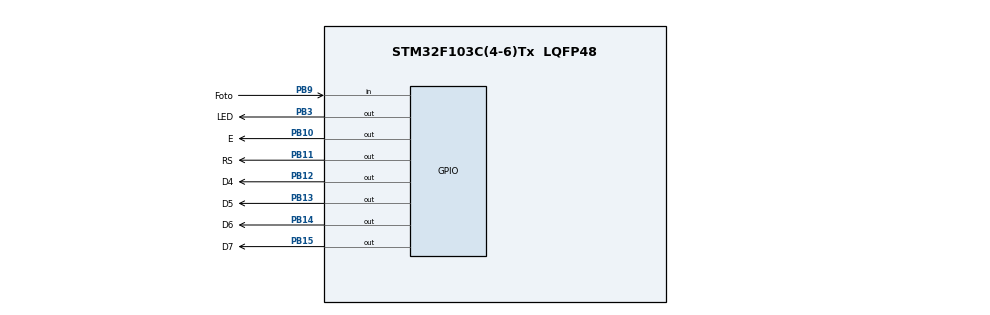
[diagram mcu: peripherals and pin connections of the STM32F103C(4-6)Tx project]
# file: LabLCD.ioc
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Mcu.Family=STM32F1
Mcu.Name=STM32F103C(4-6)Tx
Mcu.Package=LQFP48
NVIC.PriorityGroup=NVIC_PRIORITYGROUP_4
PA13.Mode=Serial_Wire
PA13.Signal=SYS_JTMS-SWDIO
PA14.Mode=Serial_Wire
PA14.Signal=SYS_JTCK-SWCLK
PB10.GPIO_Label=E
PB10.Signal=GPIO_Output
PB11.GPIO_Label=RS
PB11.Signal=GPIO_Output
PB12.GPIO_Label=D4
PB12.Signal=GPIO_Output
PB13.GPIO_Label=D5
PB13.Signal=GPIO_Output
PB14.GPIO_Label=D6
PB14.Signal=GPIO_Output
PB15.GPIO_Label=D7
PB15.Signal=GPIO_Output
PB3.GPIO_Label=LED
PB3.Signal=GPIO_Output
PB9.GPIO_Label=Foto
PB9.Signal=GPIO_Input
PD0-OSC_IN.Mode=HSE-External-Oscillator
PD0-OSC_IN.Signal=RCC_OSC_IN
PD1-OSC_OUT.Mode=HSE-External-Oscillator
PD1-OSC_OUT.Signal=RCC_OSC_OUT
ProjectManager.HeapSize=0x200
ProjectManager.StackSize=0x400
ProjectManager.TargetToolchain=STM32CubeIDE
RCC.APB1Freq_Value=8000000
RCC.APB2Freq_Value=8000000
board=custom

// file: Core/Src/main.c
/* USER CODE BEGIN Header */
/**
  ******************************************************************************
  * @file           : main.c
  * @brief          : Main program body
  ******************************************************************************
  * @attention
  *
  * Copyright (c) 2022 STMicroelectronics.
  * All rights reserved.
  *
  * This software is licensed under terms that can be found in the LICENSE file
  * in the root directory of this software component.
  * If no LICENSE file comes with this software, it is provided AS-IS.
  *
  ******************************************************************************
  */
/* USER CODE END Header */
#include "main.h"

/* USER CODE BEGIN Includes */
#include <stdio.h>
#include <stdlib.h>
//Comandos para operaciones del lcd
#define linea1 0x80 //Direccion del cursor en linea1
#define linea2 0xC0 //Direccion del cursos en linea2
#define clear  0x01 //Comando que borra lso datos que esta impirmiendo el lcd
/* USER CODE END Includes */

void SystemClock_Config(void);
static void MX_GPIO_Init(void);
/* USER CODE BEGIN PFP */
void initLCD(); //Funcion que inicializa el lcd
void comando(unsigned char cmd, unsigned char rs); //Funcion para enviar la informacion al lcd
void E_cadena(unsigned char *pal); //Funcion que nos ayuda a imprimir un string o cadena
/* USER CODE END PFP */

/* USER CODE BEGIN 0 */
//unsigned char pal[]="123456";
unsigned long cont=0; //Contador para llevar los segundos en el microcontrolador
unsigned long token=0xF49DC57D; //token asignado por nosotros
unsigned long token2=30000; // Token inicializado que cambaira cada 30segundos
unsigned long clave=0; //calve resultante que sera imprimida en el lcd
char pal[9],i; //Array que me ayudara a convertir a calve en string
/* USER CODE END 0 */

int main(void)
{

  /* MCU Configuration--------------------------------------------------------*/

  /* Reset of all peripherals, Initializes the Flash interface and the Systick. */
  HAL_Init();

  /* Configure the system clock */
  SystemClock_Config();

  /* Initialize all configured peripherals */
  MX_GPIO_Init();
  /* USER CODE BEGIN 2 */
  initLCD();
  /* USER CODE END 2 */

  /* Infinite loop */
  /* USER CODE BEGIN WHILE */
  HAL_Delay(1);
  E_cadena("Su token es: ");
  HAL_Delay(1);
  comando(linea2, 0);
  HAL_Delay(15);
//While para poder sincronizar el microcontrolador con el programa del pc
  while(i<2){
     if(HAL_GPIO_ReadPin(GPIOB, GPIO_PIN_9 )==GPIO_PIN_RESET){ //evaluamos la fotoresistencia
	 		 i=4;
	 	  }else{
	 		 i=0;
	 	  }
  }
  clave=token^token2;//realizamos el primer XOR de nuestro token con el primier intervalo de tiempo
  E_cadena(itoa(clave, pal, 16)); //itoa se actualizo en stdlib.h ya que esta no contaba con ultoa

  while (1)
  {
	  HAL_Delay(1);
	  cont++; //contador que nos define los milisegundso gastados
	  if(cont==14960){//se evalua en esto para poder borrar los datos del lcd y no sobreescribir en el
		  //se realiza unos milisegundos antes de los 30seg para no retrasar el microcontrolador
		  comando(clear,0);
		  HAL_Delay(1);
		  E_cadena("Su token es: ");
		  HAL_Delay(1);
		  comando(linea2, 0);
	  }else if(cont==14980){ //15000 dura aproximada 30segundos
		  token2=token2+30000;//actualizamos el valor del token 2 comparador
		  clave=token^token2;//realizamos el XOR con token2 actualizado
		  E_cadena(itoa(clave, pal, 16));//imprimimos el resutlado de calve el pal
		  cont=0;
	  }

    /* USER CODE END WHILE */

  }
}

void SystemClock_Config(void)
{
  RCC_OscInitTypeDef RCC_OscInitStruct = {0};
  RCC_ClkInitTypeDef RCC_ClkInitStruct = {0};

  /** Initializes the RCC Oscillators according to the specified parameters
  * in the RCC_OscInitTypeDef structure.
  */
  RCC_OscInitStruct.OscillatorType = RCC_OSCILLATORTYPE_HSI;
  RCC_OscInitStruct.HSIState = RCC_HSI_ON;
  RCC_OscInitStruct.HSICalibrationValue = RCC_HSICALIBRATION_DEFAULT;
  RCC_OscInitStruct.PLL.PLLState = RCC_PLL_NONE;
  if (HAL_RCC_OscConfig(&RCC_OscInitStruct) != HAL_OK)
  {
    Error_Handler();
  }

  /** Initializes the CPU, AHB and APB buses clocks
  */
  RCC_ClkInitStruct.ClockType = RCC_CLOCKTYPE_HCLK|RCC_CLOCKTYPE_SYSCLK
                              |RCC_CLOCKTYPE_PCLK1|RCC_CLOCKTYPE_PCLK2;
  RCC_ClkInitStruct.SYSCLKSource = RCC_SYSCLKSOURCE_HSI;
  RCC_ClkInitStruct.AHBCLKDivider = RCC_SYSCLK_DIV1;
  RCC_ClkInitStruct.APB1CLKDivider = RCC_HCLK_DIV1;
  RCC_ClkInitStruct.APB2CLKDivider = RCC_HCLK_DIV1;

  if (HAL_RCC_ClockConfig(&RCC_ClkInitStruct, FLASH_LATENCY_0) != HAL_OK)
  {
    Error_Handler();
  }
}

static void MX_GPIO_Init(void)
{
  GPIO_InitTypeDef GPIO_InitStruct = {0};

  /* GPIO Ports Clock Enable */
  __HAL_RCC_GPIOD_CLK_ENABLE();
  __HAL_RCC_GPIOB_CLK_ENABLE();
  __HAL_RCC_GPIOA_CLK_ENABLE();

  /*Configure GPIO pin Output Level */
  HAL_GPIO_WritePin(GPIOB, E_Pin|RS_Pin|D4_Pin|D5_Pin
                          |D6_Pin|D7_Pin|LED_Pin, GPIO_PIN_RESET);

  /*Configure GPIO pins : E_Pin RS_Pin D4_Pin D5_Pin
                           D6_Pin D7_Pin LED_Pin */
  GPIO_InitStruct.Pin = E_Pin|RS_Pin|D4_Pin|D5_Pin
                          |D6_Pin|D7_Pin|LED_Pin;
  GPIO_InitStruct.Mode = GPIO_MODE_OUTPUT_PP;
  GPIO_InitStruct.Pull = GPIO_NOPULL;
  GPIO_InitStruct.Speed = GPIO_SPEED_FREQ_LOW;
  HAL_GPIO_Init(GPIOB, &GPIO_InitStruct);

  /*Configure GPIO pin : Foto_Pin */
  GPIO_InitStruct.Pin = Foto_Pin;
  GPIO_InitStruct.Mode = GPIO_MODE_INPUT;
  GPIO_InitStruct.Pull = GPIO_NOPULL;
  HAL_GPIO_Init(Foto_GPIO_Port, &GPIO_InitStruct);

}

/* USER CODE BEGIN 4 */
void comando(unsigned char cmd, unsigned char rs){
	unsigned char t1,t2,i;
	HAL_GPIO_WritePin(GPIOB, RS_Pin, rs);
	t1=(cmd>>4)&0x0F;
	for(i=0;i<4;i++){
		t2=t1&0x01;
		switch(i){
		case 0:
			HAL_GPIO_WritePin(GPIOB, D4_Pin, t2);
		break;
		case 1:
			HAL_GPIO_WritePin(GPIOB, D5_Pin, t2);
		break;
		case 2:
			HAL_GPIO_WritePin(GPIOB, D6_Pin, t2);
		break;
		case 3:
			HAL_GPIO_WritePin(GPIOB, D7_Pin, t2);
		break;
		}
		t1=t1>>1;
	}
	HAL_GPIO_WritePin(GPIOB, E_Pin, 1);
		HAL_Delay(2);
	HAL_GPIO_WritePin(GPIOB, E_Pin, 0);
		HAL_Delay(1);
	t1=cmd&0x0F;
	for(i=0;i<4;i++){
			t2=t1&0x01;
		switch(i){
		case 0:
			HAL_GPIO_WritePin(GPIOB, D4_Pin, t2);
		break;
		case 1:
			HAL_GPIO_WritePin(GPIOB, D5_Pin, t2);
		break;
		case 2:
			HAL_GPIO_WritePin(GPIOB, D6_Pin, t2);
		break;
		case 3:
			HAL_GPIO_WritePin(GPIOB, D7_Pin, t2);
		break;
		}
			t1=t1>>1;
		}
		HAL_GPIO_WritePin(GPIOB, E_Pin, 1);
			HAL_Delay(2);
		HAL_GPIO_WritePin(GPIOB, E_Pin, 0);
			HAL_Delay(1);
}

void initLCD(){
		HAL_Delay(40);
	comando(0x02,0);
		HAL_Delay(2);
	comando(0x28,0);
		HAL_Delay(2);
	comando(0x01,0);
		HAL_Delay(2);
	comando(0x0C,0);
		HAL_Delay(2);
	comando(0x06,0);
		HAL_Delay(2);
	comando(0x80,0);
		HAL_Delay(5);
}

void E_cadena(unsigned char *pal){
	while(*pal){
		comando(*pal,1);
		pal++;
	}
}

/* USER CODE END 4 */

void Error_Handler(void)
{
  __disable_irq();
  while (1)
  {
  }
}
